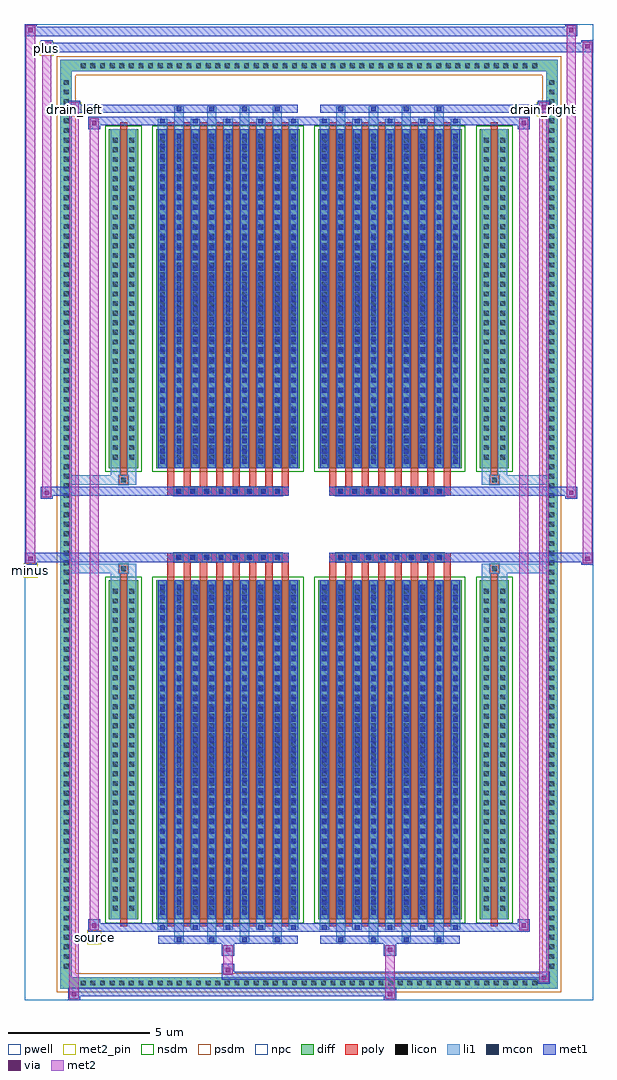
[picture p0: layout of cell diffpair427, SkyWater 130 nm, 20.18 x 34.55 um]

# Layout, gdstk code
import gdstk
lib = gdstk.Library(unit=1e-6, precision=5e-09)
def R(c, l, rs):  # rectangles x0, y0, x1, y1
    for r in rs: c.add(gdstk.rectangle(r[:2], r[2:], *l))
def A(c, l, x, y, w, h, nx, ny, dx, dy):  # array of equal rectangles
    R(c, l, [(x+i*dx, y+j*dy, x+i*dx+w, y+j*dy+h) for i in range(nx) for j in range(ny)])
def P(c, l, *ps):  # polygons
    for p in ps: c.add(gdstk.Polygon(p, *l))
pwell = (64, 44)
diff = (65, 20)
poly = (66, 20)
licon = (66, 44)
li1 = (67, 20)
mcon = (67, 44)
met1 = (68, 20)
via = (68, 44)
met2_pin = (69, 16)
met2 = (69, 20)
nsdm = (93, 44)
psdm = (94, 20)
npc = (95, 20)

diffpair427 = lib.new_cell('diffpair427')
R(diffpair427, pwell, [(-10.07,-16.84,10.07,17.71), (-7.39,-15.03,-0.01,-0.805), (0.01,-15.03,7.39,-0.805), (-7.39,0.805,-0.01,15.03), (0.01,0.805,7.39,15.03)])
A(diffpair427, diff, -8.195, -16.44, 0.41, 0.41, 48, 2, 0.34, 32.47)
A(diffpair427, diff, -8.8, -15.845, 0.41, 0.41, 1, 93, 0, 0.34)
A(diffpair427, diff, 8.39, -15.845, 0.41, 0.41, 1, 93, 0, 0.34)
R(diffpair427, diff, [(-8.195,-16.44,8.195,-16.03), (-8.8,-15.845,-8.39,15.845), (8.39,-15.845,8.8,15.845), (-7.08,-13.985,-6.05,-1.985), (-5.41,-13.985,-0.32,-1.985), (0.32,-13.985,5.41,-1.985), (6.05,-13.985,7.08,-1.985), (-7.08,1.985,-6.05,13.985), (-5.41,1.985,-0.32,13.985), (0.32,1.985,5.41,13.985), (6.05,1.985,7.08,13.985), (-8.195,16.03,8.195,16.44)])
P(diffpair427, diff, [(8.8,16.44),(-8.8,16.44),(-8.8,-16.03),(-8.39,-16.03),(-8.39,16.03),(8.39,16.03),(8.39,-16.03),(-8.39,-16.03),(-8.8,-16.03),(-8.8,-16.44),(8.8,-16.44)])
A(diffpair427, poly, -5.02, -14.235, 0.25, 12.5, 8, 2, 0.58, 15.97)
A(diffpair427, poly, 0.71, -14.235, 0.25, 12.5, 8, 2, 0.58, 15.97)
A(diffpair427, poly, -5.02, -1.735, 0.25, 0.4, 8, 2, 0.58, 3.07)
A(diffpair427, poly, 0.71, -1.735, 0.25, 0.4, 8, 2, 0.58, 3.07)
A(diffpair427, poly, -4.78, -1.335, 0.33, 0.33, 8, 2, 0.5, 2.34)
A(diffpair427, poly, 0.95, -1.335, 0.33, 0.33, 8, 2, 0.5, 2.34)
R(diffpair427, poly, [(-6.69,-14.235,-6.44,-1.735), (6.44,-14.235,6.69,-1.735), (-6.73,-1.735,-6.4,-1.405), (-6.73,-1.735,-6.4,-1.405), (6.4,-1.735,6.73,-1.405), (6.4,-1.735,6.73,-1.405), (-5.02,-1.335,-0.71,-1.005), (0.71,-1.335,5.02,-1.005), (-5.02,1.005,-0.71,1.335), (0.71,1.005,5.02,1.335), (-6.73,1.405,-6.4,1.735), (-6.73,1.405,-6.4,1.735), (6.4,1.405,6.73,1.735), (6.4,1.405,6.73,1.735), (-6.69,1.735,-6.44,14.235), (6.44,1.735,6.69,14.235)])
A(diffpair427, licon, -8.075, -16.32, 0.17, 0.17, 48, 2, 0.34, 32.47)
A(diffpair427, licon, -8.68, -15.725, 0.17, 0.17, 1, 93, 0, 0.34)
A(diffpair427, licon, 8.51, -15.725, 0.17, 0.17, 1, 93, 0, 0.34)
A(diffpair427, licon, -6.94, -13.68, 0.17, 0.17, 1, 34, 0, 0.34)
A(diffpair427, licon, -6.36, -13.68, 0.17, 0.17, 1, 34, 0, 0.34)
A(diffpair427, licon, -5.27, -13.68, 0.17, 0.17, 9, 34, 0.58, 0.34)
A(diffpair427, licon, 0.46, -13.68, 0.17, 0.17, 9, 34, 0.58, 0.34)
A(diffpair427, licon, 6.19, -13.68, 0.17, 0.17, 1, 34, 0, 0.34)
A(diffpair427, licon, 6.77, -13.68, 0.17, 0.17, 1, 34, 0, 0.34)
A(diffpair427, licon, -4.7, -1.255, 0.17, 0.17, 8, 2, 0.5, 2.34)
A(diffpair427, licon, 1.03, -1.255, 0.17, 0.17, 8, 2, 0.5, 2.34)
A(diffpair427, licon, -6.94, 2.29, 0.17, 0.17, 1, 34, 0, 0.34)
A(diffpair427, licon, -6.36, 2.29, 0.17, 0.17, 1, 34, 0, 0.34)
A(diffpair427, licon, -5.27, 2.29, 0.17, 0.17, 9, 34, 0.58, 0.34)
A(diffpair427, licon, 0.46, 2.29, 0.17, 0.17, 9, 34, 0.58, 0.34)
A(diffpair427, licon, 6.19, 2.29, 0.17, 0.17, 1, 34, 0, 0.34)
A(diffpair427, licon, 6.77, 2.29, 0.17, 0.17, 1, 34, 0, 0.34)
R(diffpair427, licon, [(-6.65,-1.655,-6.48,-1.485), (6.48,-1.655,6.65,-1.485), (-6.65,1.485,-6.48,1.655), (6.48,1.485,6.65,1.655)])
A(diffpair427, li1, -8.155, -16.4, 0.33, 0.33, 48, 2, 0.34, 32.47)
A(diffpair427, li1, -8.76, -15.805, 0.33, 0.33, 1, 93, 0, 0.34)
A(diffpair427, li1, 8.43, -15.805, 0.33, 0.33, 1, 93, 0, 0.34)
A(diffpair427, li1, -4.77, -14.79, 0.33, 0.805, 4, 2, 1.16, 28.775)
A(diffpair427, li1, -4.69, -14.79, 0.17, 0.17, 4, 2, 1.16, 29.41)
A(diffpair427, li1, 0.96, -14.79, 0.33, 0.805, 4, 2, 1.16, 28.775)
A(diffpair427, li1, 1.04, -14.79, 0.17, 0.17, 4, 2, 1.16, 29.41)
A(diffpair427, li1, -5.35, -14.36, 0.33, 0.375, 5, 2, 1.16, 28.345)
A(diffpair427, li1, -5.27, -14.36, 0.17, 0.17, 5, 2, 1.16, 28.55)
A(diffpair427, li1, 0.38, -14.36, 0.33, 0.375, 5, 2, 1.16, 28.345)
A(diffpair427, li1, 0.46, -14.36, 0.17, 0.17, 5, 2, 1.16, 28.55)
A(diffpair427, li1, -5.35, -13.985, 0.33, 12, 9, 2, 0.58, 15.97)
A(diffpair427, li1, 0.38, -13.985, 0.33, 12, 9, 2, 0.58, 15.97)
A(diffpair427, li1, -5.27, -13.83, 0.17, 0.17, 9, 33, 0.58, 0.36)
A(diffpair427, li1, -5.27, -13.83, 0.17, 11.69, 9, 2, 0.58, 15.97)
A(diffpair427, li1, 0.46, -13.83, 0.17, 0.17, 9, 33, 0.58, 0.36)
A(diffpair427, li1, 0.46, -13.83, 0.17, 11.69, 9, 2, 0.58, 15.97)
A(diffpair427, li1, -7.02, -13.76, 0.33, 0.33, 1, 34, 0, 0.34)
A(diffpair427, li1, -6.44, -13.76, 0.33, 0.33, 1, 34, 0, 0.34)
A(diffpair427, li1, -5.35, -13.76, 0.33, 0.33, 9, 34, 0.58, 0.34)
A(diffpair427, li1, 0.38, -13.76, 0.33, 0.33, 9, 34, 0.58, 0.34)
A(diffpair427, li1, 6.11, -13.76, 0.33, 0.33, 1, 34, 0, 0.34)
A(diffpair427, li1, 6.69, -13.76, 0.33, 0.33, 1, 34, 0, 0.34)
A(diffpair427, li1, -4.78, -1.335, 0.33, 0.33, 8, 2, 0.5, 2.34)
A(diffpair427, li1, 0.95, -1.335, 0.33, 0.33, 8, 2, 0.5, 2.34)
A(diffpair427, li1, -5.27, 2.14, 0.17, 0.17, 9, 33, 0.58, 0.36)
A(diffpair427, li1, 0.46, 2.14, 0.17, 0.17, 9, 33, 0.58, 0.36)
A(diffpair427, li1, -7.02, 2.21, 0.33, 0.33, 1, 34, 0, 0.34)
A(diffpair427, li1, -6.44, 2.21, 0.33, 0.33, 1, 34, 0, 0.34)
A(diffpair427, li1, -5.35, 2.21, 0.33, 0.33, 9, 34, 0.58, 0.34)
A(diffpair427, li1, 0.38, 2.21, 0.33, 0.33, 9, 34, 0.58, 0.34)
A(diffpair427, li1, 6.11, 2.21, 0.33, 0.33, 1, 34, 0, 0.34)
A(diffpair427, li1, 6.69, 2.21, 0.33, 0.33, 1, 34, 0, 0.34)
R(diffpair427, li1, [(-8.8,-16.44,-8.39,-16.03), (-8.8,-16.44,-8.39,-16.03), (-8.39,-16.44,8.39,-16.03), (8.39,-16.44,8.8,-16.03), (8.39,-16.44,8.8,-16.03), (-8.8,-16.03,-8.39,16.03), (8.39,-16.03,8.8,16.03), (-7.02,-13.985,-6.69,-1.985), (-6.44,-13.985,-6.11,-1.985), (6.11,-13.985,6.44,-1.985), (6.69,-13.985,7.02,-1.985), (-7.02,-1.985,-6.69,-1.405), (-6.44,-1.985,-6.11,-1.405), (6.11,-1.985,6.44,-1.405), (6.69,-1.985,7.02,-1.405), (-8.8,-1.735,-6.73,-1.405), (-7.02,-1.735,-6.73,-1.405), (-6.73,-1.735,-6.4,-1.405), (-6.4,-1.735,-6.11,-1.405), (6.11,-1.735,6.4,-1.405), (6.4,-1.735,6.73,-1.405), (6.4,-1.735,8.8,-1.405), (6.73,-1.735,7.02,-1.405), (-8.8,1.405,-6.73,1.735), (-7.02,1.405,-6.73,1.735), (-7.02,1.405,-6.69,1.985), (-6.73,1.405,-6.4,1.735), (-6.44,1.405,-6.11,1.985), (-6.4,1.405,-6.11,1.735), (6.11,1.405,6.4,1.735), (6.11,1.405,6.44,1.985), (6.4,1.405,6.73,1.735), (6.4,1.405,8.8,1.735), (6.69,1.405,7.02,1.985), (6.73,1.405,7.02,1.735), (-7.02,1.985,-6.69,13.985), (-6.44,1.985,-6.11,13.985), (6.11,1.985,6.44,13.985), (6.69,1.985,7.02,13.985), (-8.8,16.03,-8.39,16.44), (-8.8,16.03,-8.39,16.44), (-8.39,16.03,8.39,16.44), (8.39,16.03,8.8,16.44), (8.39,16.03,8.8,16.44)])
A(diffpair427, mcon, -4.69, -14.79, 0.17, 0.17, 4, 2, 1.16, 29.41)
A(diffpair427, mcon, 1.04, -14.79, 0.17, 0.17, 4, 2, 1.16, 29.41)
A(diffpair427, mcon, -5.27, -14.36, 0.17, 0.17, 5, 2, 1.16, 28.55)
A(diffpair427, mcon, 0.46, -14.36, 0.17, 0.17, 5, 2, 1.16, 28.55)
A(diffpair427, mcon, -5.27, -13.83, 0.17, 0.17, 9, 33, 0.58, 0.36)
A(diffpair427, mcon, 0.46, -13.83, 0.17, 0.17, 9, 33, 0.58, 0.36)
A(diffpair427, mcon, -4.7, -1.255, 0.17, 0.17, 8, 2, 0.5, 2.34)
A(diffpair427, mcon, 1.03, -1.255, 0.17, 0.17, 8, 2, 0.5, 2.34)
A(diffpair427, mcon, -5.27, 2.14, 0.17, 0.17, 9, 33, 0.58, 0.36)
A(diffpair427, mcon, 0.46, 2.14, 0.17, 0.17, 9, 33, 0.58, 0.36)
A(diffpair427, met1, -4.75, -14.85, 0.29, 0.29, 4, 2, 1.16, 29.41)
A(diffpair427, met1, 0.98, -14.85, 0.29, 0.29, 4, 2, 1.16, 29.41)
A(diffpair427, met1, -5.33, -14.42, 0.29, 0.29, 5, 2, 1.16, 28.55)
A(diffpair427, met1, 0.4, -14.42, 0.29, 0.29, 5, 2, 1.16, 28.55)
A(diffpair427, met1, -5.33, -13.985, 0.29, 12, 9, 2, 0.58, 15.97)
A(diffpair427, met1, 0.4, -13.985, 0.29, 12, 9, 2, 0.58, 15.97)
A(diffpair427, met1, -5.33, -13.89, 0.29, 0.29, 9, 33, 0.58, 0.36)
A(diffpair427, met1, 0.4, -13.89, 0.29, 0.29, 9, 33, 0.58, 0.36)
A(diffpair427, met1, -4.76, -1.315, 0.29, 0.29, 8, 2, 0.5, 2.34)
A(diffpair427, met1, 0.97, -1.315, 0.29, 0.29, 8, 2, 0.5, 2.34)
A(diffpair427, met1, -5.33, 2.08, 0.29, 0.29, 9, 33, 0.58, 0.36)
A(diffpair427, met1, 0.4, 2.08, 0.29, 0.29, 9, 33, 0.58, 0.36)
R(diffpair427, met1, [(-8.53,-16.84,-8.1,-16.41), (2.65,-16.84,3.08,-16.41), (-8.53,-16.7,3.08,-16.41), (8.1,-16.27,8.53,-15.84), (-3.08,-16.13,8.53,-15.84), (-3.08,-15.99,-2.65,-15.56), (-3.08,-15.28,-2.65,-14.85), (2.65,-15.28,3.08,-14.85), (-5.33,-14.85,-0.4,-14.56), (0.4,-14.85,5.33,-14.56), (-7.82,-14.42,-7.39,-13.99), (-7.82,-14.42,-5.33,-14.13), (-5.33,-14.42,-0.4,-14.13), (-0.4,-14.42,0.4,-14.13), (0.4,-14.42,5.33,-14.13), (5.33,-14.42,7.82,-14.13), (7.39,-14.42,7.82,-13.99), (-10.07,-1.435,-9.64,-1.005), (9.64,-1.435,10.07,-1.005), (-10.07,-1.335,-0.71,-1.005), (-5.02,-1.335,-0.71,-1.005), (0.71,-1.335,5.02,-1.005), (0.71,-1.335,10.07,-1.005), (-9.5,0.905,-9.07,1.335), (9.07,0.905,9.5,1.335), (-9.5,1.005,-5.02,1.335), (-5.02,1.005,-0.71,1.335), (0.71,1.005,5.02,1.335), (5.02,1.005,9.5,1.335), (-7.82,13.99,-7.39,14.42), (7.39,13.99,7.82,14.42), (-7.82,14.13,-5.33,14.42), (-5.33,14.13,-0.4,14.42), (-0.4,14.13,0.4,14.42), (0.4,14.13,5.33,14.42), (5.33,14.13,7.82,14.42), (-8.53,14.56,-8.1,14.99), (-8.53,14.56,-5.33,14.85), (-5.33,14.56,-0.4,14.85), (0.4,14.56,5.33,14.85), (5.33,14.56,8.53,14.85), (8.1,14.56,8.53,14.99), (-9.5,16.71,-9.07,17.14), (-9.5,16.71,-7.39,17.04), (-7.39,16.71,7.39,17.04), (7.39,16.71,10.07,17.04), (9.64,16.71,10.07,17.14), (-10.07,17.28,-9.64,17.71), (-10.07,17.28,-7.39,17.61), (-7.39,17.28,7.39,17.61), (7.39,17.28,9.5,17.61), (9.07,17.28,9.5,17.71)])
R(diffpair427, via, [(-8.39,-16.7,-8.24,-16.55), (2.79,-16.7,2.94,-16.55), (8.24,-16.13,8.39,-15.98), (-2.94,-15.85,-2.79,-15.7), (-2.94,-15.14,-2.79,-14.99), (2.79,-15.14,2.94,-14.99), (-7.68,-14.28,-7.53,-14.13), (7.53,-14.28,7.68,-14.13), (-9.93,-1.295,-9.78,-1.145), (9.78,-1.295,9.93,-1.145), (-9.36,1.045,-9.21,1.195), (9.21,1.045,9.36,1.195), (-7.68,14.13,-7.53,14.28), (7.53,14.13,7.68,14.28), (-8.39,14.7,-8.24,14.85), (8.24,14.7,8.39,14.85), (-9.36,16.85,-9.21,17), (9.78,16.85,9.93,17), (-9.93,17.42,-9.78,17.57), (9.21,17.42,9.36,17.57)])
R(diffpair427, met2_pin, [(-7.855,-14.87,-7.355,-14.37), (-10.105,-1.885,-9.605,-1.385), (-8.565,14.44,-8.065,14.94), (8.065,14.44,8.565,14.94), (-9.535,16.59,-9.035,17.09)])
R(diffpair427, met2, [(-8.48,-16.79,-8.15,-16.46), (-8.48,-16.79,-8.15,14.94), (2.7,-16.79,3.03,-16.46), (2.7,-16.46,3.03,-15.23), (8.15,-16.22,8.48,-15.89), (8.15,-16.22,8.48,14.94), (-3.03,-15.94,-2.7,-15.61), (-3.03,-15.61,-2.7,-15.23), (-3.03,-15.23,-2.7,-14.9), (2.7,-15.23,3.03,-14.9), (-7.77,-14.37,-7.44,-14.04), (-7.77,-14.37,-7.44,14.37), (7.44,-14.37,7.77,-14.04), (7.44,-14.37,7.77,14.37), (-10.02,-1.385,-9.69,-1.055), (-10.02,-1.385,-9.69,17.66), (9.69,-1.385,10.02,-1.055), (9.69,-1.385,10.02,17.09), (-9.45,0.955,-9.12,1.285), (-9.45,0.955,-9.12,17.09), (9.12,0.955,9.45,1.285), (9.12,0.955,9.45,17.66), (-7.77,14.04,-7.44,14.37), (7.44,14.04,7.77,14.37), (-8.48,14.61,-8.15,14.94), (8.15,14.61,8.48,14.94), (-9.45,16.76,-9.12,17.09), (9.69,16.76,10.02,17.09), (-10.02,17.33,-9.69,17.66), (9.12,17.33,9.45,17.66)])
P(diffpair427, met2, [(10.02,-1.385),(10.02,-1.385),(10.02,-1.055),(10.02,-1.055)],
  [(10.02,16.76),(10.02,16.76),(10.02,17.09),(10.02,17.09)],
  [(-9.69,-1.385),(-9.69,-1.385),(-9.69,-1.055),(-9.69,-1.055)],
  [(-9.69,17.33),(-9.69,17.33),(-9.69,17.66),(-9.69,17.66)],
  [(9.45,0.955),(9.45,0.955),(9.45,1.285),(9.45,1.285)],
  [(9.45,17.33),(9.45,17.33),(9.45,17.66),(9.45,17.66)],
  [(-9.12,0.955),(-9.12,0.955),(-9.12,1.285),(-9.12,1.285)],
  [(-9.12,16.76),(-9.12,16.76),(-9.12,17.09),(-9.12,17.09)],
  [(-8.15,-16.79),(-8.15,-16.79),(-8.15,-16.46),(-8.15,-16.46)],
  [(-8.15,14.61),(-8.15,14.61),(-8.15,14.94),(-8.15,14.94)],
  [(8.48,-16.22),(8.48,-16.22),(8.48,-15.89),(8.48,-15.89)],
  [(8.48,14.61),(8.48,14.61),(8.48,14.94),(8.48,14.94)],
  [(-7.44,-14.37),(-7.44,-14.37),(-7.44,-14.04),(-7.44,-14.04)],
  [(-7.44,14.04),(-7.44,14.04),(-7.44,14.37),(-7.44,14.37)],
  [(7.77,-14.37),(7.77,-14.37),(7.77,-14.04),(7.77,-14.04)],
  [(7.77,14.04),(7.77,14.04),(7.77,14.37),(7.77,14.37)])
R(diffpair427, nsdm, [(-7.21,-14.115,-5.92,-1.855), (-5.54,-14.115,-0.19,-1.855), (0.19,-14.115,5.54,-1.855), (5.92,-14.115,7.21,-1.855), (-7.21,1.855,-5.92,14.115), (-5.54,1.855,-0.19,14.115), (0.19,1.855,5.54,14.115), (5.92,1.855,7.21,14.115)])
P(diffpair427, psdm, [(8.93,16.57),(-8.93,16.57),(-8.93,-15.9),(-8.26,-15.9),(-8.26,15.9),(8.26,15.9),(8.26,-15.9),(-8.26,-15.9),(-8.93,-15.9),(-8.93,-16.57),(8.93,-16.57)])
A(diffpair427, npc, -4.8, -1.355, 0.37, 0.37, 8, 2, 0.5, 2.34)
A(diffpair427, npc, 0.93, -1.355, 0.37, 0.37, 8, 2, 0.5, 2.34)
R(diffpair427, npc, [(-6.75,-1.755,-6.38,-1.385), (6.38,-1.755,6.75,-1.385), (-4.8,-1.355,-3.93,-0.985), (-4.8,-1.355,-3.93,-0.985), (-4.3,-1.355,-3.43,-0.985), (-4.3,-1.355,-3.43,-0.985), (-3.8,-1.355,-2.93,-0.985), (-3.8,-1.355,-2.93,-0.985), (-3.3,-1.355,-2.43,-0.985), (-3.3,-1.355,-2.43,-0.985), (-2.8,-1.355,-1.93,-0.985), (-2.8,-1.355,-1.93,-0.985), (-2.3,-1.355,-1.43,-0.985), (-2.3,-1.355,-1.43,-0.985), (-1.8,-1.355,-0.93,-0.985), (-1.8,-1.355,-0.93,-0.985), (0.93,-1.355,1.8,-0.985), (0.93,-1.355,1.8,-0.985), (1.43,-1.355,2.3,-0.985), (1.43,-1.355,2.3,-0.985), (1.93,-1.355,2.8,-0.985), (1.93,-1.355,2.8,-0.985), (2.43,-1.355,3.3,-0.985), (2.43,-1.355,3.3,-0.985), (2.93,-1.355,3.8,-0.985), (2.93,-1.355,3.8,-0.985), (3.43,-1.355,4.3,-0.985), (3.43,-1.355,4.3,-0.985), (3.93,-1.355,4.8,-0.985), (3.93,-1.355,4.8,-0.985), (-4.8,0.985,-3.93,1.355), (-4.8,0.985,-3.93,1.355), (-4.3,0.985,-3.43,1.355), (-4.3,0.985,-3.43,1.355), (-3.8,0.985,-2.93,1.355), (-3.8,0.985,-2.93,1.355), (-3.3,0.985,-2.43,1.355), (-3.3,0.985,-2.43,1.355), (-2.8,0.985,-1.93,1.355), (-2.8,0.985,-1.93,1.355), (-2.3,0.985,-1.43,1.355), (-2.3,0.985,-1.43,1.355), (-1.8,0.985,-0.93,1.355), (-1.8,0.985,-0.93,1.355), (0.93,0.985,1.8,1.355), (0.93,0.985,1.8,1.355), (1.43,0.985,2.3,1.355), (1.43,0.985,2.3,1.355), (1.93,0.985,2.8,1.355), (1.93,0.985,2.8,1.355), (2.43,0.985,3.3,1.355), (2.43,0.985,3.3,1.355), (2.93,0.985,3.8,1.355), (2.93,0.985,3.8,1.355), (3.43,0.985,4.3,1.355), (3.43,0.985,4.3,1.355), (3.93,0.985,4.8,1.355), (3.93,0.985,4.8,1.355), (-6.75,1.385,-6.38,1.755), (6.38,1.385,6.75,1.755)])
diffpair427.add(gdstk.Label('minus', (-9.855,-1.635), layer=69, texttype=5))
diffpair427.add(gdstk.Label('drain_right', (8.315,14.69), layer=69, texttype=5))
diffpair427.add(gdstk.Label('drain_left', (-8.315,14.69), layer=69, texttype=5))
diffpair427.add(gdstk.Label('source', (-7.605,-14.62), layer=69, texttype=5))
diffpair427.add(gdstk.Label('plus', (-9.285,16.84), layer=69, texttype=5))

lib.write_gds('diffpair427.gds')
